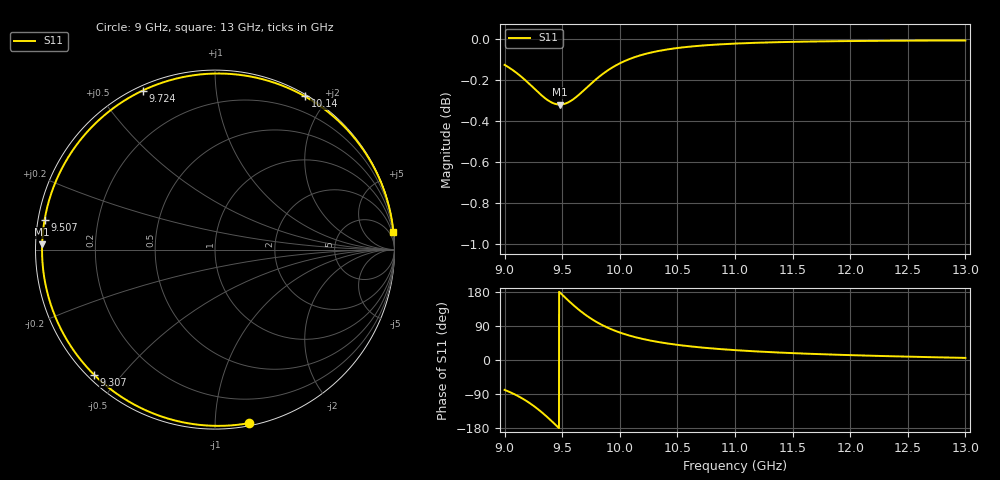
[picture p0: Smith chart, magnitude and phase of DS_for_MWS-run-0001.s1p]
! TOUCHSTONE file generated by CST DESIGN STUDIO
! Date and time: Tue Feb  4 18:14:25 2025
! Project name: C:\Work\MatlabApps\UnitCellOptimizationMatlab\CST\unitcell.cst
! Tree item: Tasks\Sweep1\SPara1\S-Parameters
! Header version: 2024
! Port assignment regex: !\s*Touchstone port\s*([0-9]+)\s*=\s*(CST MWS port|CST DES external port|CST DES block port)\s*(.+)\s* \(\"(.*)\"\)(\s*mode\s*([0-9]+))?.*
! Touchstone port assignment:
! Touchstone port 1 = CST DES external port 1 ("")
# GHz S MA R 50
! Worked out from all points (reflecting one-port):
!   4001 points, 9 GHz to 13 GHz, reference 50 ohm
!   lowest |S11| = -0.3 dB at 9.479 GHz (marker M1), VSWR 54.12, Z = 0.924 + j0.767 ohm
!   phase of S11 starts at -79 deg and turns -276 deg over the sweep
!   S11 on the Smith chart (normalised r, x): 9 GHz: 0.02, -1.22; 9.307 GHz: 0.02, -0.42; 9.507 GHz: 0.02, +0.09; 9.724 GHz: 0.02, +0.64; 10.14 GHz: 0.02, +1.75; 13 GHz: 0, +21
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9  0.9853 -78.9
9.076  0.9822 -89.0
9.174  0.9773 -105.1
9.243  0.9732 -119.1
9.307  0.9695 -134.0
9.352  0.9671 -145.7
9.4  0.9651 -158.9
9.44  0.9641 -170.4
9.479  0.9637 178.2
9.5  0.9638 172.1
9.507  0.9639 170.1
9.559  0.9651 155.2
9.619  0.9677 139.0
9.671  0.9705 126.2
9.724  0.9735 114.5
9.779  0.9766 103.7
9.841  0.9798 93.2
9.919  0.9833 82.0
10  0.9862 72.5
10.143  0.9899 59.6
10.305  0.9926 49.1
10.5  0.9947 40.0
10.722  0.9961 32.6
11  0.9972 26.0
11.5  0.9981 18.1
12  0.9986 12.8
12.5  0.9988 8.8
13  0.9989 5.5
